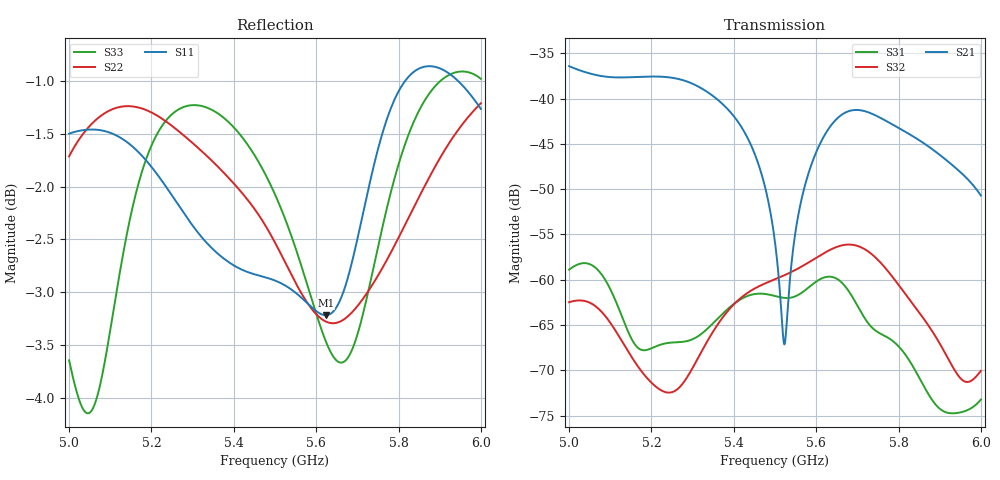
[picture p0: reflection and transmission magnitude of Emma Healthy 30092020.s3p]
! TOUCHSTONE file generated by CST MICROWAVE STUDIO
! Date and time: Wed Sep 30 10:36:49 2020
! Project name: Emma Lung Lower Right.cst
! Header version: 2018
! Port assignment regex: !\s*Touchstone port\s*([0-9]+)\s*=\s*(CST MWS port|CST DS port)\s*([0-9]+|Zmin|Zmax)\s*\(\"(.*)\"\)(\s*mode\s*([0-9]+))?.*
! Touchstone port assignment:
! Touchstone port 1 = CST MWS port 1 ("")
! Touchstone port 2 = CST MWS port 2 ("")
! Touchstone port 3 = CST MWS port 3 ("")
# GHz S RI R 50
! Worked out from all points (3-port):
!   1001 points, 5 GHz to 6 GHz, reference 50 ohm
!   strongest paths, dB at 5 GHz, 5.25 GHz, 5.5 GHz, 5.75 GHz, 6 GHz:
!     S21: -36.4, -37.7, -55.9, -42.0, -50.7
!     S32: -62.5, -72.4, -60.0, -57.8, -70.1
!     S31: -58.9, -66.9, -61.8, -65.8, -73.2
!   lowest |S11| = -3.2 dB at 5.623 GHz (marker M1), VSWR 5.46, Z = 257 + j62.5 ohm
!   |S11| at or under -10 dB: nowhere
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5  0.8416 0.00433  -0.0149 0.00269  0.00115 0.000225
   -0.0149 0.00266  0.8147 0.1006  0.00074 0.000147
   0.00111 0.000224  0.000741 0.000122  0.6512 -0.0888
5.246  0.7858 -0.0681  0.0099 0.00854  -0.000421 0.000158
       0.00989 0.00854  0.8492 -0.0327  -0.00023 5.04e-05
       -0.000417 0.000166  -0.000233 4.97e-05  0.8554 0.0693
5.418  0.7255 -0.0226  0.000971 -0.00692  0.000679 0.000403
       0.000974 -0.00692  0.787 -0.0647  0.000504 0.000614
       0.000673 0.0004  0.000507 0.000614  0.8379 -0.0499
5.5  0.717 0.00185  -0.0015 -0.000608  0.000505 -0.000626
     -0.00149 -0.000607  0.7446 -0.0639  0.000849 -0.000541
     0.000508 -0.000634  0.000849 -0.000539  0.7839 -0.0764
5.524  0.7132 0.0081  -7.44e-05 0.000446  0.000258 -0.000748
       -7.31e-05 0.00044  0.7295 -0.0582  0.000596 -0.000877
       0.000251 -0.000752  0.000599 -0.000876  0.7634 -0.0779
5.56  0.7046 0.02  0.0025 0.000128  -0.000143 -0.000831
      0.00249 0.000132  0.7082 -0.0422  -9.88e-06 -0.00116
      -0.000142 -0.000821  -1.05e-05 -0.00117  0.7292 -0.0716
5.623  0.6875 0.0636  0.00372 -0.00522  -0.000993 -0.000243
       0.00372 -0.00523  0.6857 0.0021  -0.0013 -0.000573
       -0.001 -0.000251  -0.0013 -0.00057  0.6709 -0.0239
5.735  0.7877 0.1664  -0.0074 -0.00363  0.000168 0.000522
       -0.00741 -0.00364  0.7082 0.0825  0.00056 0.00126
       0.000154 0.000523  0.000566 0.00126  0.7086 0.1323
5.908  0.9019 0.0253  -0.000513 0.00471  0.000138 -0.000106
       -0.000502 0.0047  0.8151 0.121  -6.16e-05 -0.000409
       0.00015 -0.000113  -6.92e-05 -0.000407  0.8904 0.0735
6  0.8638 -0.0349  0.00236 0.00167  9.25e-05 -0.000205
   0.00238 0.00168  0.865 0.0924  -0.000187 -0.000233
   0.000113 -0.000186  -0.000195 -0.000245  0.8932 -0.0158
